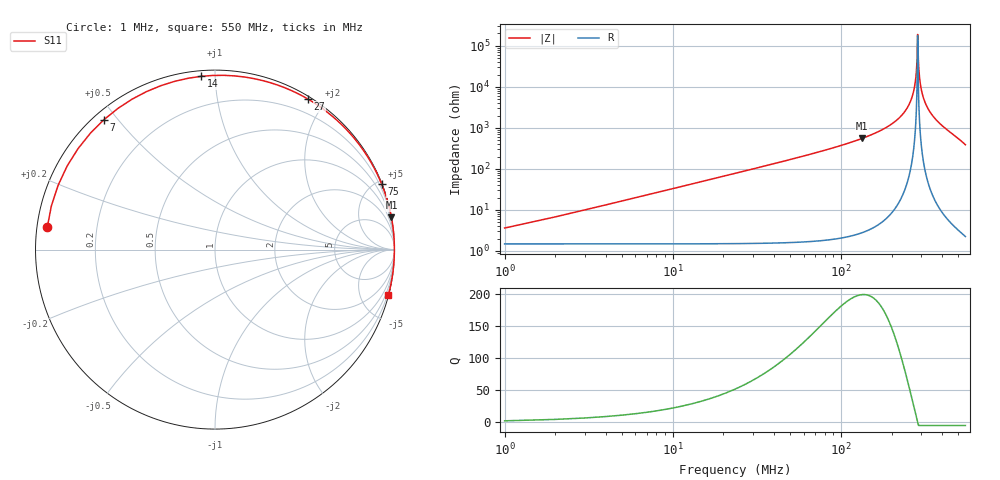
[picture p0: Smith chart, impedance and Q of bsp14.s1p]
! AWR Design Environment (7670) Wed Feb 10 15:06:39 2016
! Document = 'bsp14'
! nPorts: 1, nXvals: 550
# HZ S RI R 50
!Freq ReS11 ImS11
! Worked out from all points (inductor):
!   550 points, 1 MHz to 550 MHz, reference 50 ohm
!   read as one part to ground: L = 523 nH near 3 MHz
!   highest Q = 199 at 134 MHz (marker M1), where L = 658 nH
!   self-resonance near 286 MHz
!   S11 on the Smith chart (normalised r, x): 1 MHz: 0.03, +0.07; 7 MHz: 0.03, +0.46; 14 MHz: 0.03, +0.92; 27 MHz: 0.03, +1.79; 75 MHz: 0.04, +5.26; 550 MHz: 0.04, -7.74
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1000000  -0.9348 0.1235
2000000  -0.9115 0.244
4000000  -0.8238 0.4656
6000000  -0.6941 0.6488
7000000  -0.6192 0.7236
8000000  -0.5406 0.7869
1e7  -0.3796 0.8812
1.2e7  -0.2231 0.938
1.4e7  -0.0783 0.9652
1.7e7  0.1106 0.9676
2e7  0.265 0.9419
2.3e7  0.389 0.9017
2.7e7  0.5163 0.8397
3e7  0.59 0.7923
3.4e7  0.6667 0.732
4.3e7  0.7803 0.6147
5.5e7  0.8629 0.4968
7e7  0.9165 0.3931
7.5e7  0.928 0.3659
1.01e8  0.9637 0.2614
1.34e8  0.983 0.1788
1.39e8  0.9847 0.1691
2.07e8  0.9968 0.0731
2.76e8  0.9995 0.00838
3.45e8  0.9984 -0.0457
4.13e8  0.9944 -0.0987
4.82e8  0.9858 -0.1619
5.5e8  0.9657 -0.2539
